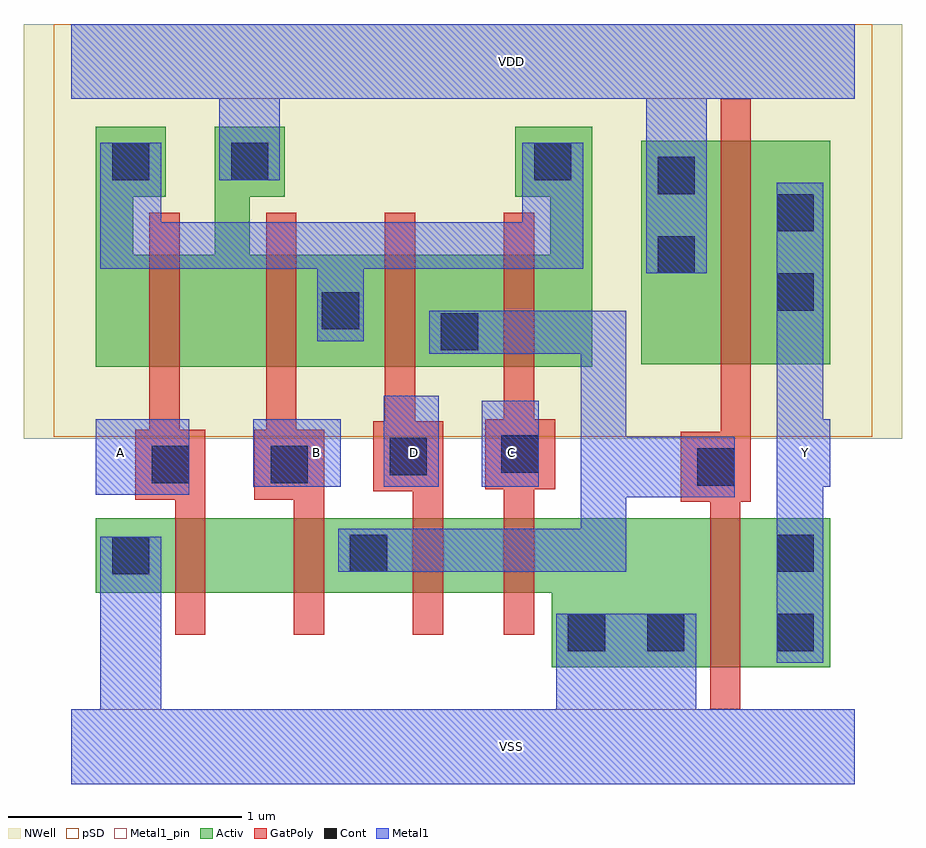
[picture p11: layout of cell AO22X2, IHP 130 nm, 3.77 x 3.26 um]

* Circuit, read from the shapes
.subckt AO22X2 A B C D VDD VSS Y
XM1 n1 A VSS VSUBS sg13_lv_nmos w=0.32u l=0.13u
XM2 n2 B n1 VSUBS sg13_lv_nmos w=0.32u l=0.13u
XM3 n3 D n2 VSUBS sg13_lv_nmos w=0.32u l=0.13u
XM4 VSS C n3 VSUBS sg13_lv_nmos w=0.32u l=0.13u
XM5 Y n2 VSS VSUBS sg13_lv_nmos w=0.64u l=0.13u
XM6 VDD A n4 n5 sg13_lv_pmos w=0.48u l=0.13u
XM7 n4 B VDD n5 sg13_lv_pmos w=0.48u l=0.13u
XM8 n2 D n4 n5 sg13_lv_pmos w=0.48u l=0.13u
XM9 n4 C n2 n5 sg13_lv_pmos w=0.48u l=0.13u
XM10 Y n2 VDD n5 sg13_lv_pmos w=0.96u l=0.13u
.ends

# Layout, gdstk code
import gdstk
lib = gdstk.Library(unit=1e-6, precision=1e-09)
def R(c, l, rs):  # rectangles x0, y0, x1, y1
    for r in rs: c.add(gdstk.rectangle(r[:2], r[2:], *l))
def P(c, l, *ps):  # polygons
    for p in ps: c.add(gdstk.Polygon(p, *l))
Activ = (1, 0)
GatPoly = (5, 0)
Cont = (6, 0)
Metal1 = (8, 0)
Metal1_pin = (8, 2)
pSD = (14, 0)
NWell = (31, 0)

ao22x2 = lib.new_cell('AO22X2')
R(ao22x2, Activ, [(2.445,1.64,3.255,2.6)])
P(ao22x2, Activ, [(2.06,0.34),(2.06,0.66),(0.105,0.66),(0.105,0.98),(3.255,0.98),(3.255,0.34)],
  [(0.105,1.63),(0.105,2.66),(0.405,2.66),(0.405,2.36),(0.265,2.36),(0.265,2.11),(0.615,2.11),(0.615,2.66),(0.915,2.66),(0.915,2.36),(0.765,2.36),(0.765,2.11),(2.055,2.11),(2.055,2.36),(1.905,2.36),(1.905,2.66),(2.235,2.66),(2.235,1.63)])
P(ao22x2, GatPoly, [(0.445,0.48),(0.445,1.06),(0.275,1.06),(0.275,1.36),(0.335,1.36),(0.335,2.29),(0.465,2.29),(0.465,1.36),(0.575,1.36),(0.575,0.48)],
  [(1.855,0.48),(1.855,1.105),(1.775,1.105),(1.775,1.405),(1.855,1.405),(1.855,2.29),(1.985,2.29),(1.985,1.405),(2.075,1.405),(2.075,1.105),(1.985,1.105),(1.985,0.48)],
  [(1.465,0.48),(1.465,1.095),(1.295,1.095),(1.295,1.395),(1.345,1.395),(1.345,2.29),(1.475,2.29),(1.475,1.395),(1.595,1.395),(1.595,0.48)],
  [(0.955,0.48),(0.955,1.06),(0.785,1.06),(0.785,1.36),(0.835,1.36),(0.835,2.29),(0.965,2.29),(0.965,1.36),(1.085,1.36),(1.085,0.48)],
  [(2.74,0.16),(2.74,1.05),(2.615,1.05),(2.615,1.35),(2.785,1.35),(2.785,2.78),(2.915,2.78),(2.915,1.05),(2.87,1.05),(2.87,0.16)])
R(ao22x2, Cont, [(2.13,0.41,2.29,0.57), (2.47,0.41,2.63,0.57), (3.025,0.41,3.185,0.57), (0.175,0.74,0.335,0.9), (1.195,0.75,1.355,0.91), (3.025,0.75,3.185,0.91), (2.685,1.12,2.845,1.28), (0.345,1.13,0.505,1.29), (0.855,1.13,1.015,1.29), (1.365,1.165,1.525,1.325), (1.845,1.175,2.005,1.335), (1.585,1.7,1.745,1.86), (1.075,1.79,1.235,1.95), (3.025,1.87,3.185,2.03), (2.515,2.03,2.675,2.19), (3.025,2.21,3.185,2.37), (2.515,2.37,2.675,2.53), (0.175,2.43,0.335,2.59), (0.685,2.43,0.845,2.59), (1.985,2.43,2.145,2.59)])
R(ao22x2, Metal1, [(0.105,1.08,0.505,1.405), (0.78,1.115,1.155,1.405), (1.34,1.115,1.575,1.505), (1.76,1.115,2.005,1.485)])
P(ao22x2, Metal1, [(2.465,2.03),(2.465,2.78),(0.895,2.78),(0.895,2.43),(0.635,2.43),(0.635,2.78),(0,2.78),(0,3.1),(3.36,3.1),(3.36,2.78),(2.725,2.78),(2.725,2.03)],
  [(0,-0.16),(0,0.16),(0.125,0.16),(0.125,0.9),(0.385,0.9),(0.385,0.16),(2.08,0.16),(2.08,0.57),(2.68,0.57),(2.68,0.16),(3.36,0.16),(3.36,-0.16)],
  [(3.025,0.36),(3.025,2.42),(3.225,2.42),(3.225,1.405),(3.255,1.405),(3.255,1.115),(3.225,1.115),(3.225,0.36)],
  [(1.145,0.75),(1.145,0.935),(2.185,0.935),(2.185,1.685),(1.535,1.685),(1.535,1.87),(2.38,1.87),(2.38,1.33),(2.845,1.33),(2.845,1.07),(2.38,1.07),(2.38,0.75)],
  [(1.055,1.74),(1.055,2.05),(0.125,2.05),(0.125,2.59),(0.385,2.59),(0.385,2.25),(1.935,2.25),(1.935,2.59),(2.195,2.59),(2.195,2.05),(1.255,2.05),(1.255,1.74)])
R(ao22x2, Metal1_pin, [(0,-0.16,3.36,0.16), (0.105,1.08,0.505,1.405), (0.78,1.115,1.155,1.405), (1.34,1.115,1.575,1.505), (1.76,1.115,2.005,1.485), (3.025,1.115,3.255,1.405), (0,2.78,3.36,3.1)])
P(ao22x2, Metal1_pin, [(3.025,0.36),(3.025,2.42),(3.225,2.42),(3.225,1.405),(3.255,1.405),(3.255,1.115),(3.225,1.115),(3.225,0.36)])
R(ao22x2, pSD, [(-0.075,1.33,3.435,3.1)])
R(ao22x2, NWell, [(-0.205,1.32,3.565,3.1)])
ao22x2.add(gdstk.Label('B', (1.05,1.26), layer=8, texttype=25))
ao22x2.add(gdstk.Label('Y', (3.15,1.26), layer=8, texttype=25))
ao22x2.add(gdstk.Label('VSS', (1.89,0), layer=8, texttype=25))
ao22x2.add(gdstk.Label('C', (1.89,1.26), layer=8, texttype=25))
ao22x2.add(gdstk.Label('D', (1.47,1.26), layer=8, texttype=25))
ao22x2.add(gdstk.Label('A', (0.21,1.26), layer=8, texttype=25))
ao22x2.add(gdstk.Label('VDD', (1.89,2.94), layer=8, texttype=25))

lib.write_gds('AO22X2.gds')
